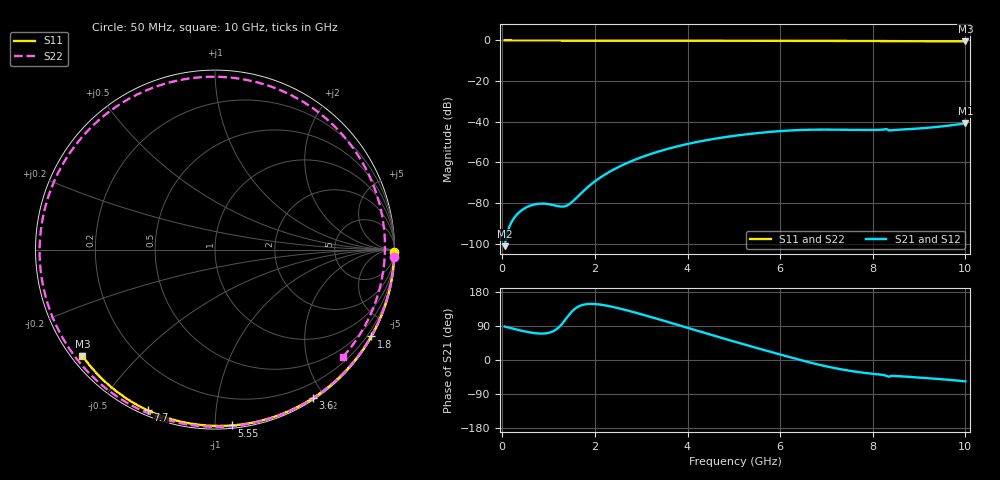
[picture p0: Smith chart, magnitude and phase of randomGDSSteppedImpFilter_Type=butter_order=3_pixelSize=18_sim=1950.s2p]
! freq	dB(S11)	phase(S11)	dB(S12)	phase(S12)
!  dB(S21)	phase(S21)	dB(S22)	phase(S22)
!S-par simulation data
#  GHz  S  DB  R 50
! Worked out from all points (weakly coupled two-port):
!   200 points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, 50 MHz to 10 GHz, reference 50 ohm
!   highest |S21| = -40.75 dB at 10 GHz (marker M1); lowest = -101.1 dB at 50 MHz (marker M2)
!   lowest |S11| = -0.5 dB at 10 GHz (marker M3), VSWR 36.44, Z = 1.54 - j17.6 ohm
!   |S11| at or under -10 dB: nowhere
!   |S22| runs from -0.6 to 0.0 dB; largest |S21 - S12| = 0
!   S11 on the Smith chart (normalised r, x): 50 MHz: open; 1.8 GHz: 0.03, -3.86; 3.6 GHz: 0.02, -1.85; 5.55 GHz: 0.02, -1.10; 7.7 GHz: 0.02, -0.67; 10 GHz: 0.03, -0.35
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0.05  -0.00 -0.8  -101.15 88.4  -101.15 88.4  -0.00 -2.5
0.35  -0.01 -5.7  -84.80 79.1  -84.80 79.1  -0.03 -17.3
0.7  -0.01 -11.4  -80.62 70.9  -80.62 70.9  -0.05 -34.4
1.1  -0.02 -17.9  -80.93 76.0  -80.93 76.0  -0.07 -53.4
1.45  -0.03 -23.5  -80.44 120.5  -80.44 120.5  -0.08 -69.5
1.75  -0.04 -28.3  -74.09 145.9  -74.09 145.9  -0.10 -82.8
1.8  -0.04 -29.1  -73.04 147.1  -73.04 147.1  -0.10 -85.0
2.1  -0.04 -33.8  -67.66 146.4  -67.66 146.4  -0.12 -97.8
2.45  -0.05 -39.2  -62.92 138.3  -62.92 138.3  -0.13 -112.3
2.95  -0.06 -46.9  -57.88 122.5  -57.88 122.5  -0.15 -132.1
3.4  -0.07 -53.7  -54.43 106.8  -54.43 106.8  -0.17 -149.3
3.6  -0.08 -56.7  -53.13 99.5  -53.13 99.5  -0.17 -156.8
4.3  -0.09 -67.0  -49.49 74.0  -49.49 74.0  -0.20 177.2
5.05  -0.12 -77.6  -46.77 47.1  -46.77 47.1  -0.25 149.3
5.55  -0.14 -84.5  -45.45 29.8  -45.45 29.8  -0.27 130.3
6.15  -0.16 -92.6  -44.35 9.4  -44.35 9.4  -0.31 107.0
6.7  -0.19 -99.8  -43.87 -8.3  -43.87 -8.3  -0.33 85.0
7.2  -0.22 -106.3  -43.87 -21.9  -43.87 -21.9  -0.36 64.8
7.7  -0.26 -112.7  -44.00 -32.0  -44.00 -32.0  -0.39 44.7
8.35  -0.31 -120.9  -44.23 -44.1  -44.23 -44.1  -0.43 19.0
9.1  -0.38 -130.1  -43.11 -47.2  -43.11 -47.2  -0.50 -9.1
10  -0.48 -141.3  -40.75 -56.4  -40.75 -56.4  -0.63 -39.8
